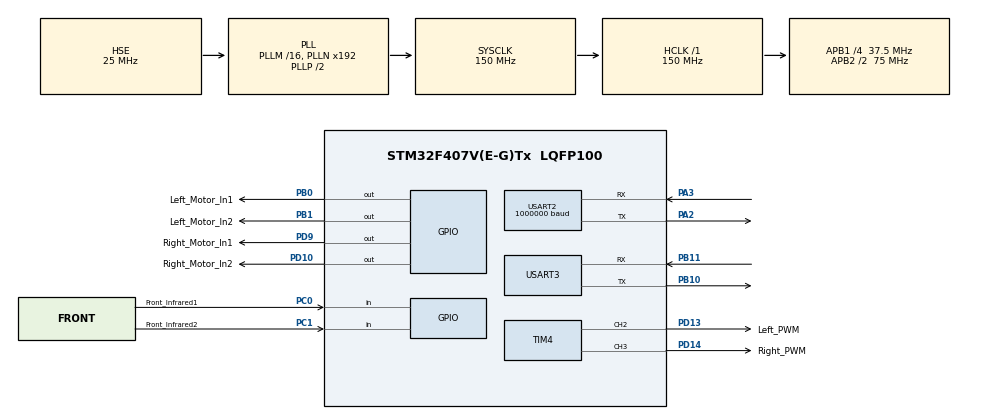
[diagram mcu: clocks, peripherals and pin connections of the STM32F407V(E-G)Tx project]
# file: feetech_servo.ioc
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Mcu.Family=STM32F4
Mcu.Name=STM32F407V(E-G)Tx
Mcu.Package=LQFP100
NVIC.PriorityGroup=NVIC_PRIORITYGROUP_4
NVIC.RCC_IRQn=true\:0\:0\:false\:false\:true\:true\:false\:true
NVIC.TIM4_IRQn=true\:0\:0\:false\:false\:true\:true\:true\:true
NVIC.USART2_IRQn=true\:0\:0\:false\:false\:true\:true\:true\:true
NVIC.USART3_IRQn=true\:0\:0\:false\:false\:true\:true\:true\:true
PA13.Mode=Serial_Wire
PA13.Signal=SYS_JTMS-SWDIO
PA14.Mode=Serial_Wire
PA14.Signal=SYS_JTCK-SWCLK
PA2.Mode=Asynchronous
PA2.Signal=USART2_TX
PA3.Mode=Asynchronous
PA3.Signal=USART2_RX
PB0.GPIO_Label=Left_Motor_In1
PB0.Signal=GPIO_Output
PB1.GPIO_Label=Left_Motor_In2
PB1.Signal=GPIO_Output
PB10.Mode=Asynchronous
PB10.Signal=USART3_TX
PB11.Mode=Asynchronous
PB11.Signal=USART3_RX
PC0.GPIO_Label=Front_Infrared1
PC0.Signal=GPIO_Input
PC1.GPIO_Label=Front_Infrared2
PC1.Signal=GPIO_Input
PD10.GPIO_Label=Right_Motor_In2
PD10.Signal=GPIO_Output
PD13.GPIO_Label=Left_PWM
PD13.Signal=S_TIM4_CH2
PD14.GPIO_Label=Right_PWM
PD14.Signal=S_TIM4_CH3
PD9.GPIO_Label=Right_Motor_In1
PD9.Signal=GPIO_Output
PH0-OSC_IN.Mode=HSE-External-Oscillator
PH0-OSC_IN.Signal=RCC_OSC_IN
PH1-OSC_OUT.Mode=HSE-External-Oscillator
PH1-OSC_OUT.Signal=RCC_OSC_OUT
ProjectManager.HeapSize=0x200
ProjectManager.StackSize=0x400
ProjectManager.TargetToolchain=STM32CubeIDE
RCC.48MHZClocksFreq_Value=75000000
RCC.AHBFreq_Value=150000000
RCC.APB1CLKDivider=RCC_HCLK_DIV4
RCC.APB1Freq_Value=37500000
RCC.APB1TimFreq_Value=75000000
RCC.APB2CLKDivider=RCC_HCLK_DIV2
RCC.APB2Freq_Value=75000000
RCC.APB2TimFreq_Value=150000000
RCC.CortexFreq_Value=150000000
RCC.HCLKFreq_Value=150000000
RCC.HSE_VALUE=25000000
RCC.HSI_VALUE=16000000
RCC.LSE_VALUE=32768
RCC.PLLSourceVirtual=RCC_PLLSOURCE_HSE
RCC.SYSCLKFreq_VALUE=150000000
RCC.SYSCLKSource=RCC_SYSCLKSOURCE_PLLCLK
RCC.VCOOutputFreq_Value=300000000
SH.S_TIM4_CH2.0=TIM4_CH2,PWM Generation2 CH2
SH.S_TIM4_CH3.0=TIM4_CH3,PWM Generation3 CH3
TIM4.Channel-PWM\ Generation2\ CH2=TIM_CHANNEL_2
TIM4.Channel-PWM\ Generation3\ CH3=TIM_CHANNEL_3
USART2.BaudRate=1000000
USART2.VirtualMode=VM_ASYNC
USART3.VirtualMode=VM_ASYNC
board=custom

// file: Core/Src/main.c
/* USER CODE BEGIN Header */
/**
  ******************************************************************************
  * @file           : main.c
  * @brief          : Main program body
  ******************************************************************************
  * @attention
  *
  * Copyright (c) 2025 STMicroelectronics.
  * All rights reserved.
  *
  * This software is licensed under terms that can be found in the LICENSE file
  * in the root directory of this software component.
  * If no LICENSE file comes with this software, it is provided AS-IS.
  *
  ******************************************************************************
  */
/* USER CODE END Header */
#include "main.h"

/* USER CODE BEGIN PTD */
void send_infrared_feedback();
void HAL_UART_RxCpltCallback(UART_HandleTypeDef *huart);
void process_command(char* raw_cmd);
/* USER CODE END PTD */

TIM_HandleTypeDef htim4;

UART_HandleTypeDef huart2;
UART_HandleTypeDef huart3;

void SystemClock_Config(void);
static void MX_GPIO_Init(void);
static void MX_USART2_UART_Init(void);
static void MX_USART3_UART_Init(void);
static void MX_TIM4_Init(void);

/* USER CODE BEGIN 0 */
void HAL_UART_RxCpltCallback(UART_HandleTypeDef *huart) {
    if (huart->Instance == USART3) {
        if (rx_byte == '\n' || rx_byte == '\r') {
            rx_buf[rx_index] = '\0';
            command_ready = 1;  //  플래그만 세움
            rx_index = 0;
        } else {
            if (rx_index < RX_BUF_SIZE - 1) {
                rx_buf[rx_index++] = rx_byte;
            } else {
                rx_index = 0;  // 오버플로우 방지
            }
        }
        HAL_UART_Receive_IT(&huart3, &rx_byte, 1);
    }
}

void process_command(char* raw_cmd) {
    const int fixed_speed = 100;
    const int fixed_acc = 50;

   /* AGV 모터 명령인지 확인 후 동작*/
    int left = 0, right = 0;
    if (sscanf(raw_cmd, "L%dR%d", &left, &right) == 2) {
        //printf("[AGV] Parsed → L=%d, R=%d\n", left, right);
        set_motor_pwm((int)left,(int)right);  // AGV 모터 동작
        return;  // AGV 명령이면 여기서 끝
    }

    /* 로봇 암 명령 처리 */
    ServoCommand commands[MAX_COMMANDS];
    int command_count = 0;

    for (char* token = strtok(raw_cmd, ",");
         token && command_count < MAX_COMMANDS;
         token = strtok(NULL, ","))
    {
        int id = 0, pos = 0;
        if (sscanf(token, "%d:%d", &id, &pos) == 2) {
            commands[command_count++] = (ServoCommand){id, pos};
            printf("Parsed → ID=%d, POS=%d\r\n", id, pos);
        } else {
            printf("⚠️ Parse error: %s\r\n", token);
        }
    }

    for (int i = 0; i < command_count; i++) {
        servo.RegWritePosEx(commands[i].id, commands[i].pos, fixed_speed, fixed_acc);
        HAL_Delay(50);
    }

    HAL_Delay(100);
    printf("[ACT] Executing Action()\r\n");
    servo.Action();
}

/* --- 모터 PWM + 방향 제어 함수 --- */
void set_motor_pwm(int left, int right)
{
    // 1) PWM 듀티 계산 (0 ~ 1000)
    uint16_t pwm_L = (uint16_t)(fminf(fabsf(left)  * 10.0f, 1000.0f));
    uint16_t pwm_R = (uint16_t)(fminf(fabsf(right) * 10.0f, 1000.0f));

    // 2) 방향 제어 (IN1/IN2)
    // Left
    if (left > 0) {
        // 전진
        HAL_GPIO_WritePin(Left_GPIO_Port, Left_Motor_In1_Pin, GPIO_PIN_SET);
        HAL_GPIO_WritePin(Left_GPIO_Port, Left_Motor_In2_Pin, GPIO_PIN_RESET);
    } else if (left < 0) {
        // 후진
        HAL_GPIO_WritePin(Left_GPIO_Port, Left_Motor_In1_Pin, GPIO_PIN_RESET);
        HAL_GPIO_WritePin(Left_GPIO_Port, Left_Motor_In2_Pin, GPIO_PIN_SET);
    } else if(left == 0) {
        // 정지→Coast
        HAL_GPIO_WritePin(Left_GPIO_Port, Left_Motor_In1_Pin, GPIO_PIN_RESET);
        HAL_GPIO_WritePin(Left_GPIO_Port, Left_Motor_In2_Pin, GPIO_PIN_RESET);
    }

    // Right
    if (right > 0) {
        // 전진
        HAL_GPIO_WritePin(Right_GPIO_Port, Right_Motor_In1_Pin, GPIO_PIN_SET);
        HAL_GPIO_WritePin(Right_GPIO_Port, Right_Motor_In2_Pin, GPIO_PIN_RESET);
    } else if (right < 0) {
        // 후진
        HAL_GPIO_WritePin(Right_GPIO_Port, Right_Motor_In1_Pin, GPIO_PIN_RESET);
        HAL_GPIO_WritePin(Right_GPIO_Port, Right_Motor_In2_Pin, GPIO_PIN_SET);
    } else if(right == 0){
        // 정지→Coast
        HAL_GPIO_WritePin(Right_GPIO_Port, Right_Motor_In1_Pin, GPIO_PIN_RESET);
        HAL_GPIO_WritePin(Right_GPIO_Port, Right_Motor_In2_Pin, GPIO_PIN_RESET);
    }

    // 3) PWM 출력 (ENA/ENB)
    // TIM_CHANNEL_2 → Left_PWM (PD13)
    // TIM_CHANNEL_3 → Right_PWM (PD14)
    __HAL_TIM_SET_COMPARE(&htim4, TIM_CHANNEL_2, pwm_L);
    __HAL_TIM_SET_COMPARE(&htim4, TIM_CHANNEL_3, pwm_R);
}

/* --- 적외선 센서 상태 전송 함수 --- */
void send_infrared_feedback() {
    uint8_t s1 = HAL_GPIO_ReadPin(GPIOC, Front_Infrared1);
    uint8_t s2 = HAL_GPIO_ReadPin(GPIOC, Front_Infrared2);
    char msg[32];
    sprintf(msg, "s1%ds2%d\n", s1 == GPIO_PIN_RESET ? 1 : 0, s2 == GPIO_PIN_RESET ? 1 : 0);
    HAL_UART_Transmit(&huart3, (uint8_t*)msg, strlen(msg), HAL_MAX_DELAY);

}

/* USER CODE END 0 */

int main(void)
{

  /* MCU Configuration--------------------------------------------------------*/

  /* Reset of all peripherals, Initializes the Flash interface and the Systick. */
  HAL_Init();

  /* Configure the system clock */
  SystemClock_Config();

  /* Initialize all configured peripherals */
  MX_GPIO_Init();
  MX_USART2_UART_Init();
  MX_USART3_UART_Init();
  MX_TIM4_Init();

  /* Infinite loop */
  while (1)
  {

  }
}

void SystemClock_Config(void)
{
  RCC_OscInitTypeDef RCC_OscInitStruct = {0};
  RCC_ClkInitTypeDef RCC_ClkInitStruct = {0};

  /** Configure the main internal regulator output voltage
  */
  __HAL_RCC_PWR_CLK_ENABLE();
  __HAL_PWR_VOLTAGESCALING_CONFIG(PWR_REGULATOR_VOLTAGE_SCALE1);

  /** Initializes the RCC Oscillators according to the specified parameters
  * in the RCC_OscInitTypeDef structure.
  */
  RCC_OscInitStruct.OscillatorType = RCC_OSCILLATORTYPE_HSE;
  RCC_OscInitStruct.HSEState = RCC_HSE_ON;
  RCC_OscInitStruct.PLL.PLLState = RCC_PLL_ON;
  RCC_OscInitStruct.PLL.PLLSource = RCC_PLLSOURCE_HSE;
  RCC_OscInitStruct.PLL.PLLM = 16;
  RCC_OscInitStruct.PLL.PLLN = 192;
  RCC_OscInitStruct.PLL.PLLP = RCC_PLLP_DIV2;
  RCC_OscInitStruct.PLL.PLLQ = 4;
  if (HAL_RCC_OscConfig(&RCC_OscInitStruct) != HAL_OK)
  {
    Error_Handler();
  }

  /** Initializes the CPU, AHB and APB buses clocks
  */
  RCC_ClkInitStruct.ClockType = RCC_CLOCKTYPE_HCLK|RCC_CLOCKTYPE_SYSCLK
                              |RCC_CLOCKTYPE_PCLK1|RCC_CLOCKTYPE_PCLK2;
  RCC_ClkInitStruct.SYSCLKSource = RCC_SYSCLKSOURCE_PLLCLK;
  RCC_ClkInitStruct.AHBCLKDivider = RCC_SYSCLK_DIV1;
  RCC_ClkInitStruct.APB1CLKDivider = RCC_HCLK_DIV4;
  RCC_ClkInitStruct.APB2CLKDivider = RCC_HCLK_DIV2;

  if (HAL_RCC_ClockConfig(&RCC_ClkInitStruct, FLASH_LATENCY_4) != HAL_OK)
  {
    Error_Handler();
  }
}

static void MX_TIM4_Init(void)
{

  TIM_MasterConfigTypeDef sMasterConfig = {0};
  TIM_OC_InitTypeDef sConfigOC = {0};

  htim4.Instance = TIM4;
  htim4.Init.Prescaler = 0;
  htim4.Init.CounterMode = TIM_COUNTERMODE_UP;
  htim4.Init.Period = 65535;
  htim4.Init.ClockDivision = TIM_CLOCKDIVISION_DIV1;
  htim4.Init.AutoReloadPreload = TIM_AUTORELOAD_PRELOAD_DISABLE;
  if (HAL_TIM_PWM_Init(&htim4) != HAL_OK)
  {
    Error_Handler();
  }
  sMasterConfig.MasterOutputTrigger = TIM_TRGO_RESET;
  sMasterConfig.MasterSlaveMode = TIM_MASTERSLAVEMODE_DISABLE;
  if (HAL_TIMEx_MasterConfigSynchronization(&htim4, &sMasterConfig) != HAL_OK)
  {
    Error_Handler();
  }
  sConfigOC.OCMode = TIM_OCMODE_PWM1;
  sConfigOC.Pulse = 0;
  sConfigOC.OCPolarity = TIM_OCPOLARITY_HIGH;
  sConfigOC.OCFastMode = TIM_OCFAST_DISABLE;
  if (HAL_TIM_PWM_ConfigChannel(&htim4, &sConfigOC, TIM_CHANNEL_2) != HAL_OK)
  {
    Error_Handler();
  }
  if (HAL_TIM_PWM_ConfigChannel(&htim4, &sConfigOC, TIM_CHANNEL_3) != HAL_OK)
  {
    Error_Handler();
  }
  HAL_TIM_MspPostInit(&htim4);

}

static void MX_USART2_UART_Init(void)
{

  huart2.Instance = USART2;
  huart2.Init.BaudRate = 1000000;
  huart2.Init.WordLength = UART_WORDLENGTH_8B;
  huart2.Init.StopBits = UART_STOPBITS_1;
  huart2.Init.Parity = UART_PARITY_NONE;
  huart2.Init.Mode = UART_MODE_TX_RX;
  huart2.Init.HwFlowCtl = UART_HWCONTROL_NONE;
  huart2.Init.OverSampling = UART_OVERSAMPLING_16;
  if (HAL_UART_Init(&huart2) != HAL_OK)
  {
    Error_Handler();
  }

}

static void MX_USART3_UART_Init(void)
{

  huart3.Instance = USART3;
  huart3.Init.BaudRate = 115200;
  huart3.Init.WordLength = UART_WORDLENGTH_8B;
  huart3.Init.StopBits = UART_STOPBITS_1;
  huart3.Init.Parity = UART_PARITY_NONE;
  huart3.Init.Mode = UART_MODE_TX_RX;
  huart3.Init.HwFlowCtl = UART_HWCONTROL_NONE;
  huart3.Init.OverSampling = UART_OVERSAMPLING_16;
  if (HAL_UART_Init(&huart3) != HAL_OK)
  {
    Error_Handler();
  }

}

static void MX_GPIO_Init(void)
{
  GPIO_InitTypeDef GPIO_InitStruct = {0};

  /* GPIO Ports Clock Enable */
  __HAL_RCC_GPIOH_CLK_ENABLE();
  __HAL_RCC_GPIOC_CLK_ENABLE();
  __HAL_RCC_GPIOA_CLK_ENABLE();
  __HAL_RCC_GPIOB_CLK_ENABLE();
  __HAL_RCC_GPIOD_CLK_ENABLE();

  /*Configure GPIO pin Output Level */
  HAL_GPIO_WritePin(GPIOB, Left_Motor_In1_Pin|Left_Motor_In2_Pin, GPIO_PIN_RESET);

  /*Configure GPIO pin Output Level */
  HAL_GPIO_WritePin(GPIOD, Right_Motor_In1_Pin|Right_Motor_In2_Pin, GPIO_PIN_RESET);

  /*Configure GPIO pins : Front_Infrared1_Pin Front_Infrared2_Pin */
  GPIO_InitStruct.Pin = Front_Infrared1_Pin|Front_Infrared2_Pin;
  GPIO_InitStruct.Mode = GPIO_MODE_INPUT;
  GPIO_InitStruct.Pull = GPIO_NOPULL;
  HAL_GPIO_Init(GPIOC, &GPIO_InitStruct);

  /*Configure GPIO pins : Left_Motor_In1_Pin Left_Motor_In2_Pin */
  GPIO_InitStruct.Pin = Left_Motor_In1_Pin|Left_Motor_In2_Pin;
  GPIO_InitStruct.Mode = GPIO_MODE_OUTPUT_PP;
  GPIO_InitStruct.Pull = GPIO_NOPULL;
  GPIO_InitStruct.Speed = GPIO_SPEED_FREQ_LOW;
  HAL_GPIO_Init(GPIOB, &GPIO_InitStruct);

  /*Configure GPIO pins : Right_Motor_In1_Pin Right_Motor_In2_Pin */
  GPIO_InitStruct.Pin = Right_Motor_In1_Pin|Right_Motor_In2_Pin;
  GPIO_InitStruct.Mode = GPIO_MODE_OUTPUT_PP;
  GPIO_InitStruct.Pull = GPIO_NOPULL;
  GPIO_InitStruct.Speed = GPIO_SPEED_FREQ_LOW;
  HAL_GPIO_Init(GPIOD, &GPIO_InitStruct);

}

void Error_Handler(void)
{
  __disable_irq();
  while (1)
  {
  }
}
